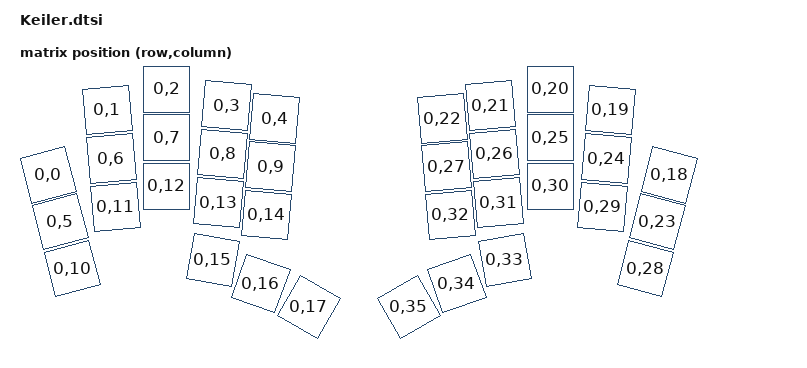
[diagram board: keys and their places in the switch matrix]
#include <dt-bindings/zmk/matrix_transform.h>
#include <physical_layouts.dtsi>
#include <zephyr/dt-bindings/pinctrl/nrf-pinctrl.h>

/ {

    chosen {
        zmk,kscan = &kscan0;
        zmk,physical-layout = &keiler_layout;
    };

    default_transform: keymap_transform_0 {
        compatible = "zmk,matrix-transform";
        columns = <36>;
        rows = <1>;
        map = <
        RC(0,0)  RC(0,1)  RC(0,2)  RC(0,3)  RC(0,4)    RC(0,22) RC(0,21) RC(0,20) RC(0,19) RC(0,18)
        RC(0,5)  RC(0,6)  RC(0,7)  RC(0,8)  RC(0,9)    RC(0,27) RC(0,26) RC(0,25) RC(0,24) RC(0,23)
        RC(0,10) RC(0,11) RC(0,12) RC(0,13) RC(0,14)   RC(0,32) RC(0,31) RC(0,30) RC(0,29) RC(0,28)
                          RC(0,15) RC(0,16) RC(0,17)   RC(0,35) RC(0,34) RC(0,33)
        >;
    };

    kscan0: kscan { };

    split_inputs {
        #address-cells = <1>;
        #size-cells = <0>;

        glidepoint_split: glidepoint_split@0 {
            compatible = "zmk,input-split";
            reg = <0>;
        };
    };

    glidepoint_listener: glidepoint_listener {
        compatible = "zmk,input-listener";
        status = "disabled";
        device = <&glidepoint_split>;
    };

    keiler_layout: keiler_layout {
        compatible = "zmk,physical-layout";
        display-name = "Keiler";
        transform = <&default_transform>;
        kscan = <&kscan0>;

        keys
            = <&key_physical_attrs 100 100   11  172 (-1500)    61   222>
            , <&key_physical_attrs 100 100  129   42  (-500)   179    92>
            , <&key_physical_attrs 100 100  248    0       0     0     0>
            , <&key_physical_attrs 100 100  368   33     500   418    83>
            , <&key_physical_attrs 100 100  464   59     500   514   109>
            , <&key_physical_attrs 100 100  800   59  (-500)   850   109>
            , <&key_physical_attrs 100 100  896   33  (-500)   946    83>
            , <&key_physical_attrs 100 100 1016    0       0     0     0>
            , <&key_physical_attrs 100 100 1135   42     500  1185    92>
            , <&key_physical_attrs 100 100 1253  172    1500  1303   222>

            , <&key_physical_attrs 100 100   35  265 (-1500)    85   315>
            , <&key_physical_attrs 100 100  137  139  (-500)   187   189>
            , <&key_physical_attrs 100 100  248   97       0     0     0>
            , <&key_physical_attrs 100 100  360  130     500   410   180>
            , <&key_physical_attrs 100 100  456  155     500   506   205>
            , <&key_physical_attrs 100 100  808  155  (-500)   858   205>
            , <&key_physical_attrs 100 100  904  130  (-500)   954   180>
            , <&key_physical_attrs 100 100 1016   97       0     0     0>
            , <&key_physical_attrs 100 100 1127  139     500  1177   189>
            , <&key_physical_attrs 100 100 1229  265    1500  1279   315>

            , <&key_physical_attrs 100 100   59  359 (-1500)   109   409>
            , <&key_physical_attrs 100 100  145  236  (-500)   195   286>
            , <&key_physical_attrs 100 100  248  194       0     0     0>
            , <&key_physical_attrs 100 100  352  227     500   402   277>
            , <&key_physical_attrs 100 100  448  252     500   498   302>
            , <&key_physical_attrs 100 100  816  252  (-500)   866   302>
            , <&key_physical_attrs 100 100  912  227  (-500)   962   277>
            , <&key_physical_attrs 100 100 1016  194       0     0     0>
            , <&key_physical_attrs 100 100 1119  236     500  1169   286>
            , <&key_physical_attrs 100 100 1205  359    1500  1255   409>

            , <&key_physical_attrs 100 100  340  342    1000   390   392>
            , <&key_physical_attrs 100 100  436  389    2000   486   439>
            , <&key_physical_attrs 100 100  532  436    3000   582   486>
            , <&key_physical_attrs 100 100  732  436 (-3000)   782   486>
            , <&key_physical_attrs 100 100  828  389 (-2000)   878   439>
            , <&key_physical_attrs 100 100  924  342 (-1000)   974   392>
            ;
    };

};
